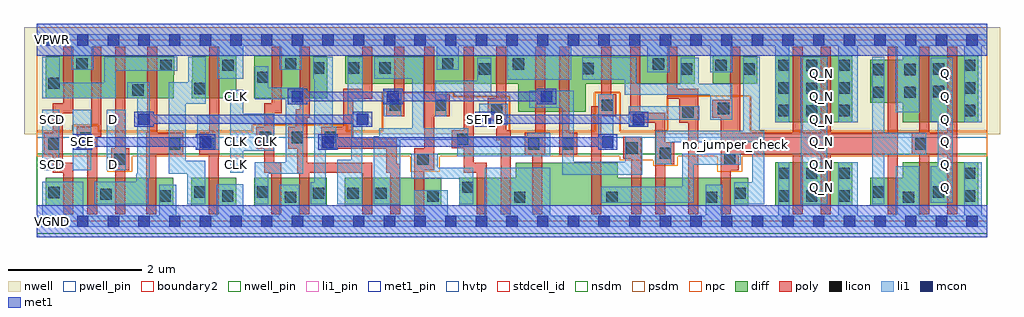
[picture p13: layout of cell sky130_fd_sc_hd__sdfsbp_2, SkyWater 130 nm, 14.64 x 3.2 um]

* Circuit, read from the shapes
.subckt sky130_fd_sc_hd__sdfsbp_2 CLK D Q Q_N SCD SCE SET_B VGND VNB VPB VPWR
XM1 n1 SCD VGND VNB sky130_fd_pr__nfet_01v8 w=0.42 l=0.15
XM2 n2 SCE n1 VNB sky130_fd_pr__nfet_01v8 w=0.42 l=0.15
XM3 n3 D n2 VNB sky130_fd_pr__nfet_01v8 w=0.42 l=0.15
XM4 VGND n4 n3 VNB sky130_fd_pr__nfet_01v8 w=0.42 l=0.15
XM5 VGND SCE n4 VNB sky130_fd_pr__nfet_01v8 w=0.42 l=0.15
XM6 VGND CLK n5 VNB sky130_fd_pr__nfet_01v8 w=0.42 l=0.15
XM7 n6 n5 VGND VNB sky130_fd_pr__nfet_01v8 w=0.42 l=0.15
XM8 n7 n5 n2 VNB sky130_fd_pr__nfet_01v8 w=0.42 l=0.15
XM9 n8 n6 n7 VNB sky130_fd_pr__nfet_01v8 w=0.42 l=0.15
XM10 VGND n9 n8 VNB sky130_fd_pr__nfet_01v8 w=0.42 l=0.15
XM11 n10 n7 n9 VNB sky130_fd_pr__nfet_01v8 w=0.42 l=0.15
XM12 VGND SET_B n10 VNB sky130_fd_pr__nfet_01v8 w=0.42 l=0.15
XM13 n11 n7 VGND VNB sky130_fd_pr__nfet_01v8 w=0.64 l=0.15
XM14 n12 n6 n11 VNB sky130_fd_pr__nfet_01v8 w=0.64 l=0.15
XM15 n13 n5 n12 VNB sky130_fd_pr__nfet_01v8 w=0.42 l=0.15
XM16 n14 n15 n13 VNB sky130_fd_pr__nfet_01v8 w=0.42 l=0.15
XM17 VGND SET_B n14 VNB sky130_fd_pr__nfet_01v8 w=0.42 l=0.15
XM18 n15 n12 VGND VNB sky130_fd_pr__nfet_01v8 w=0.42 l=0.15
XM19 Q_N n12 VGND VNB sky130_fd_pr__nfet_01v8 w=0.65 l=0.15 m=2
XM20 VGND n12 n16 VNB sky130_fd_pr__nfet_01v8 w=0.42 l=0.15
XM21 Q n16 VGND VNB sky130_fd_pr__nfet_01v8 w=0.65 l=0.15 m=2
XM22 VPWR SCD n17 VPB sky130_fd_pr__pfet_01v8_hvt w=0.64 l=0.15
XM23 n18 SCE VPWR VPB sky130_fd_pr__pfet_01v8_hvt w=0.64 l=0.15
XM24 n2 D n18 VPB sky130_fd_pr__pfet_01v8_hvt w=0.64 l=0.15
XM25 n17 n4 n2 VPB sky130_fd_pr__pfet_01v8_hvt w=0.64 l=0.15
XM26 VPWR SCE n4 VPB sky130_fd_pr__pfet_01v8_hvt w=0.64 l=0.15
XM27 VPWR CLK n5 VPB sky130_fd_pr__pfet_01v8_hvt w=0.64 l=0.15
XM28 n6 n5 VPWR VPB sky130_fd_pr__pfet_01v8_hvt w=0.64 l=0.15
XM29 n7 n6 n2 VPB sky130_fd_pr__pfet_01v8_hvt w=0.42 l=0.15
XM30 n19 n5 n7 VPB sky130_fd_pr__pfet_01v8_hvt w=0.42 l=0.15
XM31 VPWR n9 n19 VPB sky130_fd_pr__pfet_01v8_hvt w=0.42 l=0.15
XM32 n9 n7 VPWR VPB sky130_fd_pr__pfet_01v8_hvt w=0.42 l=0.15
XM33 VPWR SET_B n9 VPB sky130_fd_pr__pfet_01v8_hvt w=0.42 l=0.15
XM34 n20 n7 VPWR VPB sky130_fd_pr__pfet_01v8_hvt w=0.84 l=0.15
XM35 n12 n5 n20 VPB sky130_fd_pr__pfet_01v8_hvt w=0.84 l=0.15
XM36 n21 n6 n12 VPB sky130_fd_pr__pfet_01v8_hvt w=0.42 l=0.15
XM37 VPWR n15 n21 VPB sky130_fd_pr__pfet_01v8_hvt w=0.42 l=0.15
XM38 n12 SET_B VPWR VPB sky130_fd_pr__pfet_01v8_hvt w=0.42 l=0.15
XM39 n15 n12 VPWR VPB sky130_fd_pr__pfet_01v8_hvt w=0.42 l=0.15
XM40 Q_N n12 VPWR VPB sky130_fd_pr__pfet_01v8_hvt w=1 l=0.15 m=2
XM41 VPWR n12 n16 VPB sky130_fd_pr__pfet_01v8_hvt w=0.64 l=0.15
XM42 Q n16 VPWR VPB sky130_fd_pr__pfet_01v8_hvt w=1 l=0.15 m=2
.ends

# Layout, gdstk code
import gdstk
lib = gdstk.Library(unit=1e-6, precision=1e-09)
def R(c, l, rs):  # rectangles x0, y0, x1, y1
    for r in rs: c.add(gdstk.rectangle(r[:2], r[2:], *l))
def A(c, l, x, y, w, h, nx, ny, dx, dy):  # array of equal rectangles
    R(c, l, [(x+i*dx, y+j*dy, x+i*dx+w, y+j*dy+h) for i in range(nx) for j in range(ny)])
def P(c, l, *ps):  # polygons
    for p in ps: c.add(gdstk.Polygon(p, *l))
nwell_pin = (64, 16)
nwell = (64, 20)
diff = (65, 20)
poly = (66, 20)
licon = (66, 44)
li1_pin = (67, 16)
li1 = (67, 20)
mcon = (67, 44)
met1_pin = (68, 16)
met1 = (68, 20)
hvtp = (78, 44)
stdcell_id = (81, 4)
nsdm = (93, 44)
psdm = (94, 20)
npc = (95, 20)
pwell_pin = (122, 16)
boundary2 = (236, 0)

sky130_fd_sc_hd__sdfsbp_ = lib.new_cell('sky130_fd_sc_hd__sdfsbp_2')
R(sky130_fd_sc_hd__sdfsbp_, nwell_pin, [(0.145,2.635,0.315,2.805)])
R(sky130_fd_sc_hd__sdfsbp_, nwell, [(-0.19,1.305,14.45,2.91)])
R(sky130_fd_sc_hd__sdfsbp_, diff, [(0.135,0.235,2.05,0.655), (2.32,0.235,2.99,0.655), (3.26,0.235,4.35,0.655), (4.62,0.235,6.07,0.655), (11.08,0.235,12.235,0.885), (11.08,1.485,12.235,2.485), (3.265,1.845,4.355,2.485), (10.14,2.065,10.81,2.485)])
P(sky130_fd_sc_hd__sdfsbp_, diff, [(14.12,0.885),(12.99,0.885),(12.99,0.655),(12.505,0.655),(12.505,0.235),(14.12,0.235)],
  [(2.065,2.485),(0.135,2.485),(0.135,1.845),(2.055,1.845),(2.055,2.2),(2.06,2.2),(2.06,2.205),(2.065,2.205)],
  [(2.995,2.485),(2.335,2.485),(2.335,2.13),(2.33,2.13),(2.33,2.125),(2.325,2.125),(2.325,1.845),(2.995,1.845)],
  [(9.87,2.485),(4.625,2.485),(4.625,2.065),(7.225,2.065),(7.225,1.645),(8.235,1.645),(8.235,2.065),(9.87,2.065)],
  [(10.675,0.655),(8.715,0.655),(8.715,0.875),(7.185,0.875),(7.185,0.655),(6.34,0.655),(6.34,0.235),(10.675,0.235)],
  [(14.12,2.485),(12.99,2.485),(12.99,2.42),(12.505,2.42),(12.505,1.78),(12.99,1.78),(12.99,1.485),(14.12,1.485)])
P(sky130_fd_sc_hd__sdfsbp_, poly, [(0.545,0.88),(0.39,0.88),(0.39,1.62),(0.545,1.62),(0.545,2.615),(0.395,2.615),(0.395,1.77),(0.24,1.77),(0.24,1.325),(0.105,1.325),(0.105,0.995),(0.24,0.995),(0.24,0.73),(0.395,0.73),(0.395,0.105),(0.545,0.105)],
  [(0.965,2.615),(0.815,2.615),(0.815,1.415),(0.6,1.415),(0.6,1.085),(0.755,1.085),(0.755,0.105),(0.905,0.105),(0.905,1.265),(0.965,1.265)],
  [(1.385,1.095),(1.325,1.095),(1.325,2.615),(1.175,2.615),(1.175,1.095),(1.115,1.095),(1.115,0.765),(1.175,0.765),(1.175,0.105),(1.325,0.105),(1.325,0.765),(1.385,0.765)],
  [(2.2,1.325),(1.805,1.325),(1.805,2.615),(1.655,2.615),(1.655,1.325),(1.64,1.325),(1.64,0.105),(1.79,0.105),(1.79,0.995),(2.2,0.995)],
  [(2.735,2.615),(2.585,2.615),(2.585,1.325),(2.435,1.325),(2.435,0.995),(2.58,0.995),(2.58,0.105),(2.73,0.105),(2.73,0.995),(2.735,0.995)],
  [(3.675,2.615),(3.525,2.615),(3.525,1.77),(3.415,1.77),(3.415,1.42),(3.295,1.42),(3.295,1.09),(3.415,1.09),(3.415,0.73),(3.52,0.73),(3.52,0.105),(3.67,0.105),(3.67,0.88),(3.565,0.88),(3.565,1.62),(3.675,1.62)],
  [(5.03,0.88),(4.06,0.88),(4.06,1.55),(4.095,1.55),(4.095,2.615),(3.945,2.615),(3.945,1.68),(3.885,1.68),(3.885,1.42),(3.775,1.42),(3.775,1.09),(3.91,1.09),(3.91,0.73),(3.94,0.73),(3.94,0.105),(4.09,0.105),(4.09,0.73),(4.88,0.73),(4.88,0.105),(5.03,0.105)],
  [(5.45,0.86),(5.4,0.86),(5.4,1.24),(4.745,1.24),(4.745,1.84),(5.035,1.84),(5.035,2.615),(4.885,2.615),(4.885,1.99),(4.595,1.99),(4.595,1.42),(4.27,1.42),(4.27,1.09),(5.24,1.09),(5.24,0.73),(5.3,0.73),(5.3,0.105),(5.45,0.105)],
  [(5.515,1.905),(5.51,1.905),(5.51,2.615),(5.36,2.615),(5.36,1.905),(5.245,1.905),(5.245,1.575),(5.515,1.575)],
  [(6.195,1.905),(5.96,1.905),(5.96,2.615),(5.81,2.615),(5.81,1.095),(5.66,1.095),(5.66,0.105),(5.81,0.105),(5.81,0.765),(5.96,0.765),(5.96,1.575),(6.195,1.575)],
  [(6.75,0.88),(6.555,0.88),(6.555,2.615),(6.405,2.615),(6.405,1.365),(6.225,1.365),(6.225,1.095),(6.405,1.095),(6.405,0.73),(6.6,0.73),(6.6,0.105),(6.75,0.105)],
  [(7.11,1.365),(7.045,1.365),(7.045,2.615),(6.895,2.615),(6.895,1.845),(6.765,1.845),(6.765,1.515),(6.895,1.515),(6.895,1.215),(6.96,1.215),(6.96,0.105),(7.11,0.105)],
  [(7.625,2.615),(7.475,2.615),(7.475,1.325),(7.32,1.325),(7.32,0.995),(7.435,0.995),(7.435,0.105),(7.585,0.105),(7.585,0.995),(7.625,0.995)],
  [(8.105,1.325),(7.985,1.325),(7.985,2.615),(7.835,2.615),(7.835,0.995),(8.105,0.995)],
  [(8.695,1.905),(8.615,1.905),(8.615,2.615),(8.465,2.615),(8.465,1.905),(8.425,1.905),(8.425,1.725),(8.315,1.725),(8.315,0.105),(8.465,0.105),(8.465,1.575),(8.695,1.575)],
  [(9.065,1.265),(8.795,1.265),(8.795,0.935),(8.915,0.935),(8.915,0.105),(9.065,0.105)],
  [(9.565,1.185),(9.425,1.185),(9.425,1.625),(9.055,1.625),(9.055,2.615),(8.905,2.615),(8.905,1.475),(9.275,1.475),(9.275,0.105),(9.425,0.105),(9.425,0.855),(9.565,0.855)],
  [(9.925,1.985),(9.61,1.985),(9.61,2.615),(9.46,2.615),(9.46,1.835),(9.635,1.835),(9.635,1.475),(9.775,1.475),(9.775,0.105),(9.925,0.105)],
  [(12.915,2.615),(12.765,2.615),(12.765,1.325),(11.91,1.325),(11.91,2.615),(11.76,2.615),(11.76,1.325),(11.49,1.325),(11.49,2.615),(11.34,2.615),(11.34,1.325),(10.55,1.325),(10.55,2.615),(10.4,2.615),(10.4,1.825),(10.135,1.825),(10.135,1.555),(10.26,1.555),(10.26,0.105),(10.41,0.105),(10.41,0.765),(10.53,0.765),(10.53,0.995),(11.34,0.995),(11.34,0.105),(11.49,0.105),(11.49,0.995),(11.76,0.995),(11.76,0.105),(11.91,0.105),(11.91,0.995),(12.765,0.995),(12.765,0.105),(12.915,0.105)],
  [(13.81,2.615),(13.66,2.615),(13.66,1.325),(13.39,1.325),(13.39,2.615),(13.24,2.615),(13.24,1.325),(13.125,1.325),(13.125,0.995),(13.24,0.995),(13.24,0.105),(13.39,0.105),(13.39,0.995),(13.66,0.995),(13.66,0.105),(13.81,0.105)])
A(sky130_fd_sc_hd__sdfsbp_, licon, 11.54, 1.57, 0.17, 0.17, 1, 3, 0, 0.34)
A(sky130_fd_sc_hd__sdfsbp_, licon, 11.12, 1.575, 0.17, 0.17, 1, 3, 0, 0.34)
A(sky130_fd_sc_hd__sdfsbp_, licon, 12.025, 1.575, 0.17, 0.17, 1, 3, 0, 0.34)
A(sky130_fd_sc_hd__sdfsbp_, licon, 13.91, 1.575, 0.17, 0.17, 1, 3, 0, 0.34)
R(sky130_fd_sc_hd__sdfsbp_, licon, [(3.72,0.275,3.89,0.445), (7.16,0.275,7.33,0.445), (8.545,0.275,8.715,0.445), (10.035,0.275,10.205,0.445), (12.99,0.275,13.16,0.445), (1.84,0.295,2.01,0.465), (2.78,0.295,2.95,0.465), (5.86,0.295,6.03,0.465), (11.12,0.295,11.29,0.465), (11.54,0.295,11.71,0.465), (12.025,0.295,12.195,0.465), (13.91,0.295,14.08,0.465), (0.955,0.32,1.125,0.49), (4.14,0.335,4.31,0.505), (4.66,0.335,4.83,0.505), (5.08,0.335,5.25,0.505), (10.465,0.335,10.635,0.505), (0.175,0.345,0.345,0.515), (2.36,0.355,2.53,0.525), (3.3,0.355,3.47,0.525), (12.545,0.355,12.715,0.525), (13.44,0.355,13.61,0.525), (6.38,0.425,6.55,0.595), (11.12,0.635,11.29,0.805), (11.54,0.635,11.71,0.805), (12.025,0.635,12.195,0.805), (13.91,0.635,14.08,0.805), (1.165,0.845,1.335,1.015), (5.71,0.845,5.88,1.015), (10.31,0.845,10.48,1.015), (9.345,0.935,9.515,1.105), (8.845,1.015,9.015,1.185), (0.17,1.075,0.34,1.245), (1.98,1.075,2.15,1.245), (2.485,1.075,2.655,1.245), (7.37,1.075,7.54,1.245), (7.885,1.075,8.055,1.245), (13.175,1.075,13.345,1.245), (6.305,1.145,6.475,1.315), (0.65,1.165,0.82,1.335), (3.345,1.17,3.515,1.34), (3.825,1.17,3.995,1.34), (4.32,1.17,4.49,1.34), (9.685,1.555,9.855,1.725), (6.815,1.595,6.985,1.765), (10.215,1.605,10.385,1.775), (5.295,1.655,5.465,1.825), (5.975,1.655,6.145,1.825), (8.475,1.655,8.645,1.825), (12.545,1.85,12.715,2.02), (13.015,1.85,13.185,2.02), (13.44,1.86,13.61,2.03), (1.435,1.885,1.605,2.055), (2.365,1.905,2.535,2.075), (0.175,1.985,0.345,2.155), (3.305,2.075,3.475,2.245), (12.545,2.19,12.715,2.36), (13.015,2.19,13.185,2.36), (6.63,2.2,6.8,2.37), (9.66,2.2,9.83,2.37), (10.6,2.2,10.77,2.37), (13.44,2.2,13.61,2.37), (8.185,2.205,8.355,2.375), (4.145,2.215,4.315,2.385), (4.665,2.215,4.835,2.385), (5.14,2.215,5.31,2.385), (1.855,2.255,2.025,2.425), (2.785,2.255,2.955,2.425), (10.18,2.255,10.35,2.425), (0.595,2.275,0.765,2.445), (3.725,2.275,3.895,2.445), (6.08,2.275,6.25,2.445), (7.14,2.275,7.31,2.445), (9.24,2.275,9.41,2.445)])
A(sky130_fd_sc_hd__sdfsbp_, li1_pin, 11.685, 0.425, 0.17, 0.17, 1, 6, 0, 0.34)
A(sky130_fd_sc_hd__sdfsbp_, li1_pin, 13.545, 0.425, 0.17, 0.17, 1, 6, 0, 0.34)
R(sky130_fd_sc_hd__sdfsbp_, li1_pin, [(0.145,0.765,0.315,0.935), (1.065,0.765,1.235,0.935), (2.905,0.765,3.075,0.935), (0.605,1.105,0.775,1.275), (2.905,1.105,3.075,1.275), (3.365,1.105,3.535,1.275), (0.145,1.445,0.315,1.615), (1.065,1.445,1.235,1.615), (6.64,1.445,6.81,1.615), (2.905,1.785,3.075,1.955)])
R(sky130_fd_sc_hd__sdfsbp_, li1, [(11.46,0.255,11.855,2.465), (0.085,0.765,0.34,1.675), (0.54,0.765,0.82,1.675), (1.05,0.765,1.335,1.675), (2.405,1.075,2.735,1.59), (8.42,1.075,8.65,1.905), (6.64,1.445,7.065,1.765), (5.205,1.575,5.465,1.955)])
P(sky130_fd_sc_hd__sdfsbp_, li1, [(1.695,2.085),(1.355,2.085),(1.355,1.845),(1.505,1.845),(1.505,0.72),(1.5,0.72),(1.5,0.705),(1.495,0.705),(1.495,0.595),(0.87,0.595),(0.87,0.255),(1.67,0.255),(1.67,0.645),(1.695,0.645)],
  [(2.105,2.465),(1.015,2.465),(1.015,2.075),(0.345,2.075),(0.345,2.465),(0.085,2.465),(0.085,1.845),(1.185,1.845),(1.185,2.255),(2.105,2.255)],
  [(2.535,2.465),(2.275,2.465),(2.275,2.085),(1.98,2.085),(1.98,0.715),(2.26,0.715),(2.26,0.255),(2.53,0.255),(2.53,0.905),(2.235,0.905),(2.235,1.76),(2.535,1.76)],
  [(3.565,1.615),(3.1,1.615),(3.1,1.97),(2.905,1.97),(2.905,0.725),(3.1,0.725),(3.1,1.055),(3.565,1.055)],
  [(3.995,2),(3.475,2),(3.475,2.325),(3.27,2.325),(3.27,1.83),(3.735,1.83),(3.735,0.885),(3.27,0.885),(3.27,0.255),(3.47,0.255),(3.47,0.715),(3.995,0.715)],
  [(14.26,0.085),(14.175,0.085),(14.175,0.885),(13.91,0.885),(13.91,0.085),(13.24,0.085),(13.24,0.825),(12.885,0.825),(12.885,0.085),(12.315,0.085),(12.315,0.885),(12.025,0.885),(12.025,0.085),(11.29,0.085),(11.29,0.885),(11.12,0.885),(11.12,0.085),(10.285,0.085),(10.285,0.545),(10.035,0.545),(10.035,0.085),(7.705,0.085),(7.705,0.805),(6.72,0.805),(6.72,0.085),(6.165,0.085),(6.165,0.465),(5.665,0.465),(5.665,0.085),(3.94,0.085),(3.94,0.545),(3.64,0.545),(3.64,0.085),(3.1,0.085),(3.1,0.555),(2.7,0.555),(2.7,0.085),(2.09,0.085),(2.09,0.545),(1.84,0.545),(1.84,0.085),(0.7,0.085),(0.7,0.595),(0.085,0.595),(0.085,0.085),(0,0.085),(0,-0.085),(14.26,-0.085)],
  [(4.49,1.42),(4.44,1.42),(4.44,2.465),(4.145,2.465),(4.145,2.135),(4.165,2.135),(4.165,0.585),(4.11,0.585),(4.11,0.255),(4.335,0.255),(4.335,1.09),(4.49,1.09)],
  [(4.97,1.615),(4.89,1.615),(4.89,2.465),(4.665,2.465),(4.665,1.59),(4.715,1.59),(4.715,0.92),(4.505,0.92),(4.505,0.255),(4.885,0.255),(4.885,1.445),(4.97,1.445)],
  [(6.55,0.805),(6.015,0.805),(6.015,1.015),(5.62,1.015),(5.62,0.635),(6.335,0.635),(6.335,0.255),(6.55,0.255)],
  [(6.82,2.45),(6.605,2.45),(6.605,2.105),(5.975,2.105),(5.975,1.575),(6.145,1.575),(6.145,1.935),(6.82,1.935)],
  [(7.705,1.325),(7.355,1.325),(7.355,1.275),(6.475,1.275),(6.475,1.395),(5.805,1.395),(5.805,2.465),(5.06,2.465),(5.06,2.135),(5.635,2.135),(5.635,1.395),(5.14,1.395),(5.14,1.275),(5.055,1.275),(5.055,0.255),(5.45,0.255),(5.45,1.225),(6.305,1.225),(6.305,0.975),(7.705,0.975)],
  [(9.085,1.265),(8.83,1.265),(8.83,0.895),(8.055,0.895),(8.055,1.955),(7.385,1.955),(7.385,1.705),(7.885,1.705),(7.885,0.695),(9.085,0.695)],
  [(14.26,2.805),(0,2.805),(0,2.635),(0.515,2.635),(0.515,2.275),(0.845,2.275),(0.845,2.635),(2.705,2.635),(2.705,2.14),(3.1,2.14),(3.1,2.635),(3.645,2.635),(3.645,2.275),(3.975,2.275),(3.975,2.635),(6,2.635),(6,2.275),(6.33,2.275),(6.33,2.635),(7.06,2.635),(7.06,2.125),(8.015,2.125),(8.015,2.635),(9.16,2.635),(9.16,2.235),(9.49,2.235),(9.49,2.635),(10.1,2.635),(10.1,2.235),(10.43,2.235),(10.43,2.635),(11.08,2.635),(11.08,1.485),(11.29,1.485),(11.29,2.635),(12.025,2.635),(12.025,1.485),(12.315,1.485),(12.315,2.635),(12.885,2.635),(12.885,1.635),(13.24,1.635),(13.24,2.635),(13.91,2.635),(13.91,1.485),(14.175,1.485),(14.175,2.635),(14.26,2.635)],
  [(9.935,1.725),(8.88,1.725),(8.88,1.435),(9.115,1.435),(9.115,1.525),(9.935,1.525)],
  [(10.43,2.065),(9.93,2.065),(9.93,2.45),(9.66,2.45),(9.66,2.065),(8.99,2.065),(8.99,2.46),(8.185,2.46),(8.185,2.125),(8.82,2.125),(8.82,1.895),(10.105,1.895),(10.105,1.525),(10.43,1.525)],
  [(10.56,1.015),(9.685,1.015),(9.685,0.515),(8.465,0.515),(8.465,0.275),(9.855,0.275),(9.855,0.845),(10.56,0.845)],
  [(10.91,1.355),(10.845,1.355),(10.845,2.465),(10.6,2.465),(10.6,1.355),(9.285,1.355),(9.285,0.855),(9.515,0.855),(9.515,1.185),(10.73,1.185),(10.73,0.585),(10.465,0.585),(10.465,0.255),(10.91,0.255)],
  [(13.345,1.325),(12.715,1.325),(12.715,2.465),(12.53,2.465),(12.53,0.255),(12.715,0.255),(12.715,0.995),(13.345,0.995)],
  [(13.74,2.45),(13.41,2.45),(13.41,1.495),(13.515,1.495),(13.515,0.825),(13.41,0.825),(13.41,0.275),(13.74,0.275)])
A(sky130_fd_sc_hd__sdfsbp_, mcon, 0.145, -0.085, 0.17, 0.17, 31, 2, 0.46, 2.72)
A(sky130_fd_sc_hd__sdfsbp_, mcon, 0.605, 1.105, 0.17, 0.17, 3, 1, 1.84, 0)
R(sky130_fd_sc_hd__sdfsbp_, mcon, [(8.48,1.105,8.65,1.275), (1.525,1.445,1.695,1.615), (4.8,1.445,4.97,1.615), (6.64,1.445,6.81,1.615), (8.94,1.445,9.11,1.615), (3.825,1.785,3.995,1.955), (5.26,1.785,5.43,1.955), (7.56,1.785,7.73,1.955)])
R(sky130_fd_sc_hd__sdfsbp_, met1_pin, [(0.145,-0.085,0.315,0.085), (0.145,2.635,0.315,2.805)])
P(sky130_fd_sc_hd__sdfsbp_, met1, [(2.675,1.305),(2.385,1.305),(2.385,1.26),(0.835,1.26),(0.835,1.305),(0.545,1.305),(0.545,1.075),(0.835,1.075),(0.835,1.12),(2.385,1.12),(2.385,1.075),(2.675,1.075)],
  [(5.03,1.645),(4.74,1.645),(4.74,1.6),(1.755,1.6),(1.755,1.645),(1.465,1.645),(1.465,1.415),(1.755,1.415),(1.755,1.46),(4.74,1.46),(4.74,1.415),(5.03,1.415)],
  [(7.79,1.985),(7.5,1.985),(7.5,1.94),(5.49,1.94),(5.49,1.985),(5.2,1.985),(5.2,1.94),(4.055,1.94),(4.055,1.985),(3.765,1.985),(3.765,1.755),(4.055,1.755),(4.055,1.8),(5.2,1.8),(5.2,1.755),(5.49,1.755),(5.49,1.8),(7.5,1.8),(7.5,1.755),(7.79,1.755)],
  [(9.17,1.645),(8.88,1.645),(8.88,1.6),(6.87,1.6),(6.87,1.645),(6.58,1.645),(6.58,1.415),(6.87,1.415),(6.87,1.46),(8.88,1.46),(8.88,1.415),(9.17,1.415)],
  [(8.71,1.305),(8.42,1.305),(8.42,1.26),(4.515,1.26),(4.515,1.305),(4.225,1.305),(4.225,1.075),(4.515,1.075),(4.515,1.12),(8.42,1.12),(8.42,1.075),(8.71,1.075)])
R(sky130_fd_sc_hd__sdfsbp_, hvtp, [(0,1.25,14.26,2.72)])
R(sky130_fd_sc_hd__sdfsbp_, stdcell_id, [(0,0,14.26,2.72)])
R(sky130_fd_sc_hd__sdfsbp_, nsdm, [(0,-0.19,14.26,1.015)])
P(sky130_fd_sc_hd__sdfsbp_, psdm, [(14.26,2.91),(0,2.91),(0,1.355),(0.54,1.355),(0.54,1.445),(0.93,1.445),(0.93,1.355),(3.235,1.355),(3.235,1.45),(4.655,1.45),(4.655,1.355),(5.18,1.355),(5.18,1.935),(6.255,1.935),(6.255,1.875),(7.095,1.875),(7.095,1.355),(8.365,1.355),(8.365,1.935),(8.755,1.935),(8.755,1.355),(9.455,1.355),(9.455,1.885),(10.71,1.885),(10.71,1.355),(14.26,1.355)])
P(sky130_fd_sc_hd__sdfsbp_, npc, [(14.26,1.345),(10.7,1.345),(10.7,1.875),(9.465,1.875),(9.465,1.345),(8.745,1.345),(8.745,1.925),(8.375,1.925),(8.375,1.345),(7.085,1.345),(7.085,1.865),(6.245,1.865),(6.245,1.925),(5.19,1.925),(5.19,1.345),(4.645,1.345),(4.645,1.44),(3.245,1.44),(3.245,1.345),(0.92,1.345),(0.92,1.435),(0.55,1.435),(0.55,1.345),(0,1.345),(0,0.975),(1.06,0.975),(1.06,0.745),(1.435,0.745),(1.435,0.975),(5.6,0.975),(5.6,0.745),(6.045,0.745),(6.045,0.975),(8.745,0.975),(8.745,0.915),(9.245,0.915),(9.245,0.835),(9.615,0.835),(9.615,0.975),(10.21,0.975),(10.21,0.745),(10.58,0.745),(10.58,0.975),(14.26,0.975)])
R(sky130_fd_sc_hd__sdfsbp_, pwell_pin, [(0.145,-0.085,0.315,0.085)])
R(sky130_fd_sc_hd__sdfsbp_, boundary2, [(0,0,14.26,2.72)])
sky130_fd_sc_hd__sdfsbp_.add(gdstk.FlexPath([(0,0),(14.26,0)], 0.48, ends="flush", simple_path=True, layer=68, datatype=20))  # met1
sky130_fd_sc_hd__sdfsbp_.add(gdstk.FlexPath([(0,2.72),(14.26,2.72)], 0.48, ends="flush", simple_path=True, layer=68, datatype=20))  # met1
sky130_fd_sc_hd__sdfsbp_.add(gdstk.Label('SCD', (0.23,0.85), layer=67, texttype=5))
sky130_fd_sc_hd__sdfsbp_.add(gdstk.Label('CLK', (2.99,1.87), layer=67, texttype=5))
sky130_fd_sc_hd__sdfsbp_.add(gdstk.Label('Q_N', (11.77,1.87), layer=67, texttype=5))
sky130_fd_sc_hd__sdfsbp_.add(gdstk.Label('D', (1.15,1.53), layer=67, texttype=5))
sky130_fd_sc_hd__sdfsbp_.add(gdstk.Label('Q_N', (11.77,2.21), layer=67, texttype=5))
sky130_fd_sc_hd__sdfsbp_.add(gdstk.Label('SCD', (0.23,1.53), layer=67, texttype=5))
sky130_fd_sc_hd__sdfsbp_.add(gdstk.Label('Q_N', (11.77,1.53), layer=67, texttype=5))
sky130_fd_sc_hd__sdfsbp_.add(gdstk.Label('Q_N', (11.77,1.19), layer=67, texttype=5))
sky130_fd_sc_hd__sdfsbp_.add(gdstk.Label('Q_N', (11.77,0.85), layer=67, texttype=5))
sky130_fd_sc_hd__sdfsbp_.add(gdstk.Label('Q_N', (11.77,0.51), layer=67, texttype=5))
sky130_fd_sc_hd__sdfsbp_.add(gdstk.Label('SET_B', (6.725,1.53), layer=67, texttype=5))
sky130_fd_sc_hd__sdfsbp_.add(gdstk.Label('SCE', (0.69,1.19), layer=67, texttype=5))
sky130_fd_sc_hd__sdfsbp_.add(gdstk.Label('D', (1.15,0.85), layer=67, texttype=5))
sky130_fd_sc_hd__sdfsbp_.add(gdstk.Label('CLK', (2.99,1.19), layer=67, texttype=5))
sky130_fd_sc_hd__sdfsbp_.add(gdstk.Label('CLK', (2.99,0.85), layer=67, texttype=5))
sky130_fd_sc_hd__sdfsbp_.add(gdstk.Label('CLK', (3.45,1.19), layer=67, texttype=5))
sky130_fd_sc_hd__sdfsbp_.add(gdstk.Label('Q', (13.63,1.87), layer=67, texttype=5))
sky130_fd_sc_hd__sdfsbp_.add(gdstk.Label('Q', (13.63,2.21), layer=67, texttype=5))
sky130_fd_sc_hd__sdfsbp_.add(gdstk.Label('Q', (13.63,1.19), layer=67, texttype=5))
sky130_fd_sc_hd__sdfsbp_.add(gdstk.Label('Q', (13.63,0.85), layer=67, texttype=5))
sky130_fd_sc_hd__sdfsbp_.add(gdstk.Label('Q', (13.63,0.51), layer=67, texttype=5))
sky130_fd_sc_hd__sdfsbp_.add(gdstk.Label('Q', (13.63,1.53), layer=67, texttype=5))
sky130_fd_sc_hd__sdfsbp_.add(gdstk.Label('VPWR', (0.23,2.72), layer=68, texttype=5))
sky130_fd_sc_hd__sdfsbp_.add(gdstk.Label('VGND', (0.23,0), layer=68, texttype=5))
sky130_fd_sc_hd__sdfsbp_.add(gdstk.Label('VPB', (0.23,2.72), layer=64, texttype=5))
sky130_fd_sc_hd__sdfsbp_.add(gdstk.Label('VNB', (0.23,0), layer=64, texttype=59))
sky130_fd_sc_hd__sdfsbp_.add(gdstk.Label('sdfsbp_2', (0,0), layer=83, texttype=44))
sky130_fd_sc_hd__sdfsbp_.add(gdstk.Label('no_jumper_check', (10.475,1.145), layer=83, texttype=44))
sky130_fd_sc_hd__sdfsbp_.add(gdstk.Label('no_jumper_check', (5.85,1.45), layer=83, texttype=44))

lib.write_gds('sky130_fd_sc_hd__sdfsbp_2.gds')
